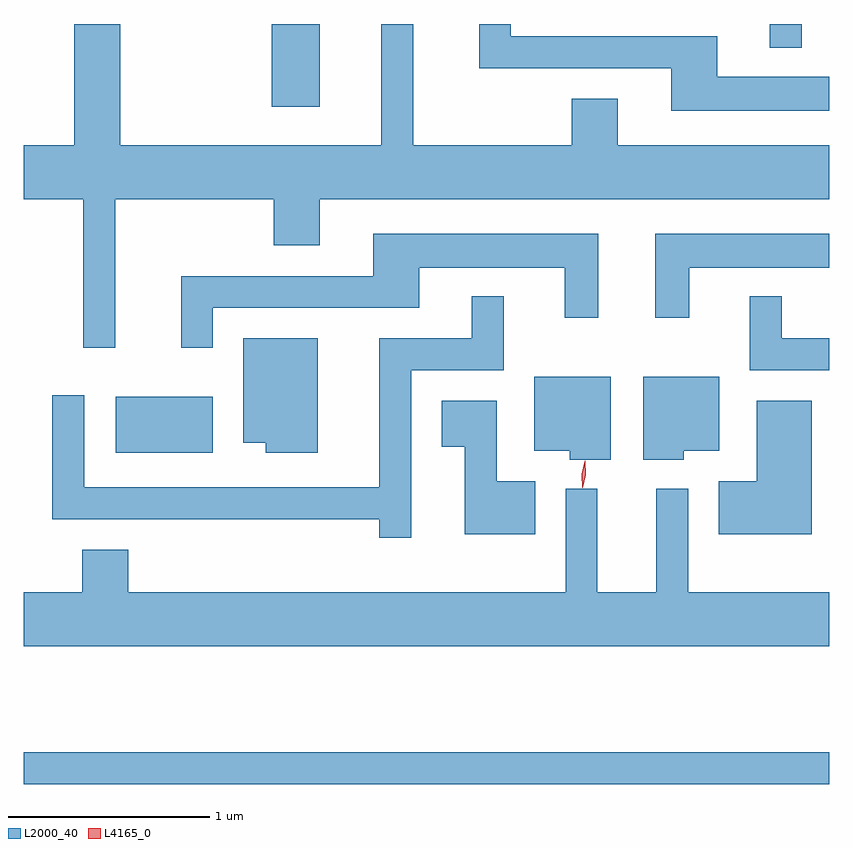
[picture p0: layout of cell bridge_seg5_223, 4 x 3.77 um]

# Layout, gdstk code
import gdstk
lib = gdstk.Library(unit=1e-6, precision=1e-09)
def R(c, l, rs):  # rectangles x0, y0, x1, y1
    for r in rs: c.add(gdstk.rectangle(r[:2], r[2:], *l))
def P(c, l, *ps):  # polygons
    for p in ps: c.add(gdstk.Polygon(p, *l))
L2000_40 = (2000, 40)
L4165_0 = (4165, 0)

bridge_seg5_223 = lib.new_cell('bridge_seg5_223')
R(bridge_seg5_223, L2000_40, [(1327.395,1436.131,1331.395,1436.289), (1327.851,1437.776,1328.334,1438.054), (1328.626,1439.496,1328.864,1439.906), (1331.101,1439.788,1331.259,1439.906)])
P(bridge_seg5_223, L2000_40, [(1327.849,1439.036),(1328.636,1439.036),(1328.636,1438.806),(1328.864,1438.806),(1328.864,1439.036),(1331.395,1439.036),(1331.395,1439.304),(1330.344,1439.304),(1330.344,1439.534),(1330.116,1439.534),(1330.116,1439.304),(1329.329,1439.304),(1329.329,1439.906),(1329.171,1439.906),(1329.171,1439.304),(1327.874,1439.304),(1327.874,1439.906),(1327.646,1439.906),(1327.646,1439.304),(1327.395,1439.304),(1327.395,1439.036),(1327.691,1439.036),(1327.691,1438.298),(1327.849,1438.298)],
  [(1331.395,1439.644),(1330.839,1439.644),(1330.839,1439.844),(1329.814,1439.844),(1329.814,1439.906),(1329.656,1439.906),(1329.656,1439.686),(1330.611,1439.686),(1330.611,1439.476),(1331.395,1439.476)],
  [(1328.334,1438.496),(1329.359,1438.496),(1329.359,1438.696),(1330.081,1438.696),(1330.081,1438.448),(1330.249,1438.448),(1330.249,1438.864),(1329.131,1438.864),(1329.131,1438.654),(1328.176,1438.654),(1328.176,1438.298),(1328.334,1438.298)],
  [(1330.699,1438.696),(1331.395,1438.696),(1331.395,1438.864),(1330.531,1438.864),(1330.531,1438.448),(1330.699,1438.448)],
  [(1329.319,1438.186),(1329.779,1438.186),(1329.779,1438.553),(1329.621,1438.553),(1329.621,1438.344),(1329.161,1438.344),(1329.161,1437.604),(1327.694,1437.604),(1327.694,1438.063),(1327.536,1438.063),(1327.536,1437.446),(1329.161,1437.446),(1329.161,1437.353),(1329.319,1437.353)],
  [(1331.395,1438.344),(1331.159,1438.344),(1331.159,1438.553),(1331.001,1438.553),(1331.001,1438.186),(1331.395,1438.186)],
  [(1328.854,1438.344),(1328.486,1438.344),(1328.486,1437.826),(1328.596,1437.826),(1328.596,1437.776),(1328.854,1437.776)],
  [(1330.674,1437.786),(1330.849,1437.786),(1330.849,1438.154),(1330.471,1438.154),(1330.471,1437.741),(1330.674,1437.741)],
  [(1330.309,1438.154),(1329.931,1438.154),(1329.931,1437.786),(1330.106,1437.786),(1330.106,1437.741),(1330.309,1437.741)],
  [(1331.309,1438.034),(1331.036,1438.034),(1331.036,1437.634),(1330.846,1437.634),(1330.846,1437.371),(1331.309,1437.371)],
  [(1329.934,1437.634),(1329.744,1437.634),(1329.744,1438.034),(1329.471,1438.034),(1329.471,1437.806),(1329.586,1437.806),(1329.586,1437.371),(1329.934,1437.371)],
  [(1331.395,1437.084),(1330.694,1437.084),(1330.694,1437.598),(1330.536,1437.598),(1330.536,1437.084),(1330.244,1437.084),(1330.244,1437.598),(1330.086,1437.598),(1330.086,1437.084),(1327.914,1437.084),(1327.914,1437.294),(1327.686,1437.294),(1327.686,1437.084),(1327.395,1437.084),(1327.395,1436.816),(1331.395,1436.816)])
P(bridge_seg5_223, L4165_0, [(1330.169,1437.603),(1330.166,1437.67),(1330.182,1437.735),(1330.183,1437.736),(1330.184,1437.735),(1330.186,1437.668),(1330.17,1437.603),(1330.17,1437.603)])

lib.write_gds('bridge_seg5_223.gds')
